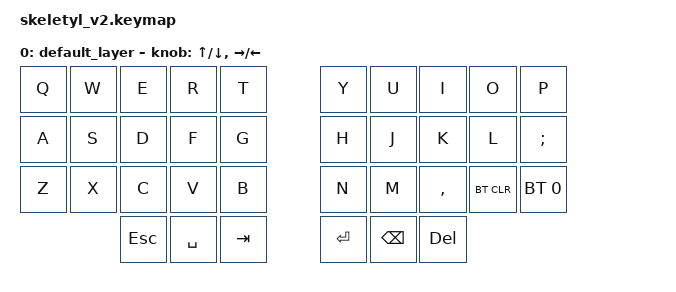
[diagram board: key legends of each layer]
/*
 * Copyright (c) 2020 ZMK Contributors
 *
 * SPDX-License-Identifier: MIT
 */


#include <behaviors.dtsi>
#include <dt-bindings/zmk/keys.h>
#include <dt-bindings/zmk/bt.h>

/ {
	keymap {
		compatible = "zmk,keymap";

		default_layer {
// ------------------------------------------------------------------------------------------------------------
// |  Q  |  W  |  E   |  R   |  T   |                   |  Y   |  U    |  I    |  O   |   P   |
// |  A  |  S  |  D   |  F   |  G   |                   |  H   |  J    |  K    |  L   |   ;   |
// |  Z  |  X  |  C   |  V   |  B   |                   |  N   |  M    |  ,    |  .   |   /   |
//                    | CTRL | SPCE | LOWER|            | RAISE| ENTR  | RGUI|
			bindings = <
&kp Q     &kp W    &kp E     &kp R     &kp T                     &kp Y     &kp U    &kp I     &kp O     &kp P    
&kp A     &kp S    &kp D     &kp F     &kp G                     &kp H     &kp J    &kp K     &kp L     &kp SEMI 
&kp Z     &kp X    &kp C     &kp V     &kp B                     &kp N     &kp M    &kp COMMA &bt BT_CLR &bt BT_SEL 0 
                   &kp ESC   &kp SPACE &kp TAB                   &kp ENTER &kp BKSP &kp DEL
			>;
			
			sensor-bindings = <&inc_dec_kp UP DOWN &inc_dec_kp RIGHT LEFT>;
		};
	};
};
